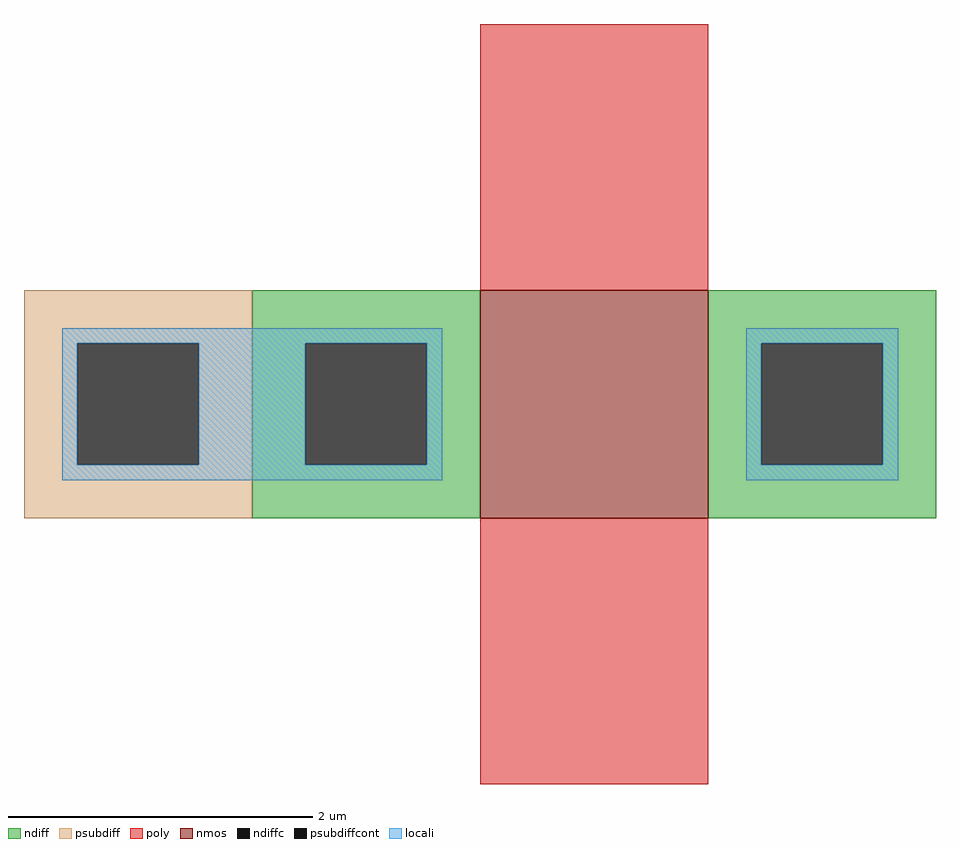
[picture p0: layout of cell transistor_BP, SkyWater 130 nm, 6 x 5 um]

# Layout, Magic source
magic
tech sky130A
<< nmos >>
rect 0 175 150 325
<< ndiff >>
rect -150 290 0 325
rect -150 210 -115 290
rect -35 210 0 290
rect -150 175 0 210
rect 150 290 300 325
rect 150 210 185 290
rect 265 210 300 290
rect 150 175 300 210
<< ndiffc >>
rect -115 210 -35 290
rect 185 210 265 290
<< psubdiff >>
rect -300 290 -150 325
rect -300 210 -265 290
rect -185 210 -150 290
rect -300 175 -150 210
<< psubdiffcont >>
rect -265 210 -185 290
<< poly >>
rect 0 325 150 500
rect 0 0 150 175
<< locali >>
rect -275 290 -25 300
rect -275 210 -265 290
rect -185 210 -115 290
rect -35 210 -25 290
rect -275 200 -25 210
rect 175 290 275 300
rect 175 210 185 290
rect 265 210 275 290
rect 175 200 275 210
<< end >>
